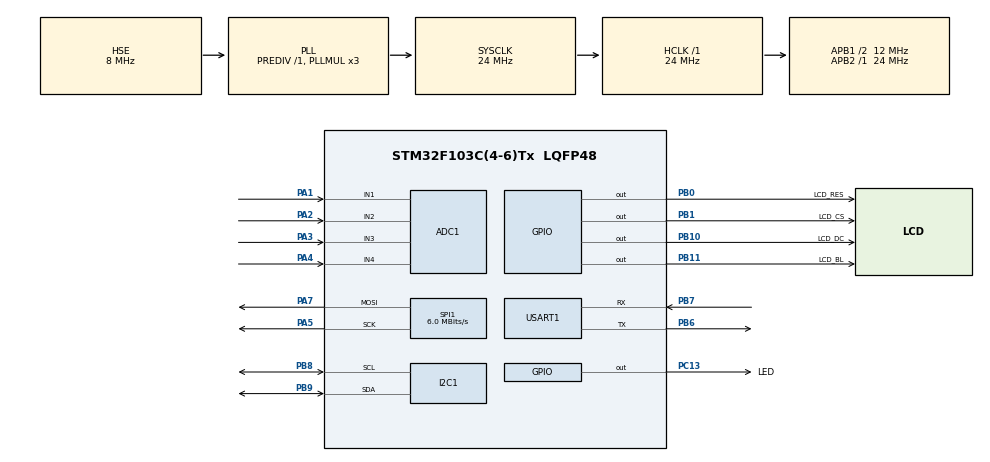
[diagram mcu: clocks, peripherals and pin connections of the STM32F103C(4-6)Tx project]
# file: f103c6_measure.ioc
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ADC1.Channel-0\#ChannelRegularConversion=ADC_CHANNEL_1
ADC1.Channel-1\#ChannelRegularConversion=ADC_CHANNEL_2
ADC1.Channel-2\#ChannelRegularConversion=ADC_CHANNEL_3
ADC1.Channel-3\#ChannelRegularConversion=ADC_CHANNEL_4
ADC1.Channel-4\#ChannelRegularConversion=ADC_CHANNEL_TEMPSENSOR
ADC1.Channel-5\#ChannelRegularConversion=ADC_CHANNEL_VREFINT
ADC1.ContinuousConvMode=ENABLE
ADC1.NbrOfConversion=6
ADC1.NbrOfConversionFlag=1
ADC1.Rank-0\#ChannelRegularConversion=1
ADC1.Rank-1\#ChannelRegularConversion=2
ADC1.Rank-2\#ChannelRegularConversion=3
ADC1.Rank-3\#ChannelRegularConversion=4
ADC1.Rank-4\#ChannelRegularConversion=5
ADC1.Rank-5\#ChannelRegularConversion=6
ADC1.SamplingTime-0\#ChannelRegularConversion=ADC_SAMPLETIME_239CYCLES_5
ADC1.SamplingTime-1\#ChannelRegularConversion=ADC_SAMPLETIME_239CYCLES_5
ADC1.SamplingTime-2\#ChannelRegularConversion=ADC_SAMPLETIME_239CYCLES_5
ADC1.SamplingTime-3\#ChannelRegularConversion=ADC_SAMPLETIME_239CYCLES_5
ADC1.SamplingTime-4\#ChannelRegularConversion=ADC_SAMPLETIME_239CYCLES_5
ADC1.SamplingTime-5\#ChannelRegularConversion=ADC_SAMPLETIME_239CYCLES_5
ADC1.master=1
Dma.ADC1.0.Direction=DMA_PERIPH_TO_MEMORY
Dma.ADC1.0.Instance=DMA1_Channel1
Dma.ADC1.0.MemDataAlignment=DMA_MDATAALIGN_HALFWORD
Dma.ADC1.0.MemInc=DMA_MINC_ENABLE
Dma.ADC1.0.Mode=DMA_CIRCULAR
Dma.ADC1.0.PeriphDataAlignment=DMA_PDATAALIGN_HALFWORD
Dma.ADC1.0.PeriphInc=DMA_PINC_DISABLE
Dma.ADC1.0.Priority=DMA_PRIORITY_MEDIUM
Dma.Request0=ADC1
Dma.Request1=SPI1_TX
Dma.SPI1_TX.1.Direction=DMA_MEMORY_TO_PERIPH
Dma.SPI1_TX.1.Instance=DMA1_Channel3
Dma.SPI1_TX.1.MemDataAlignment=DMA_MDATAALIGN_BYTE
Dma.SPI1_TX.1.MemInc=DMA_MINC_ENABLE
Dma.SPI1_TX.1.Mode=DMA_NORMAL
Dma.SPI1_TX.1.PeriphDataAlignment=DMA_PDATAALIGN_BYTE
Dma.SPI1_TX.1.PeriphInc=DMA_PINC_DISABLE
Dma.SPI1_TX.1.Priority=DMA_PRIORITY_LOW
Mcu.Family=STM32F1
Mcu.Name=STM32F103C(4-6)Tx
Mcu.Package=LQFP48
NVIC.DMA1_Channel1_IRQn=true\:0\:0\:false\:false\:true\:false\:true\:true
NVIC.DMA1_Channel3_IRQn=true\:0\:0\:false\:false\:true\:false\:true\:true
NVIC.PriorityGroup=NVIC_PRIORITYGROUP_4
PA1.Signal=ADCx_IN1
PA13.Mode=Serial_Wire
PA13.Signal=SYS_JTMS-SWDIO
PA14.Mode=Serial_Wire
PA14.Signal=SYS_JTCK-SWCLK
PA2.Signal=ADCx_IN2
PA3.Signal=ADCx_IN3
PA4.Signal=ADCx_IN4
PA5.Mode=TX_Only_Simplex_Unidirect_Master
PA5.Signal=SPI1_SCK
PA7.Mode=TX_Only_Simplex_Unidirect_Master
PA7.Signal=SPI1_MOSI
PB0.GPIO_Label=LCD_RES
PB0.Signal=GPIO_Output
PB1.GPIO_Label=LCD_CS
PB1.Signal=GPIO_Output
PB10.GPIO_Label=LCD_DC
PB10.GPIO_Speed=GPIO_SPEED_FREQ_HIGH
PB10.Signal=GPIO_Output
PB11.GPIO_Label=LCD_BL
PB11.Signal=GPIO_Output
PB6.Mode=Asynchronous
PB6.Signal=USART1_TX
PB7.Mode=Asynchronous
PB7.Signal=USART1_RX
PB8.Mode=I2C
PB8.Signal=I2C1_SCL
PB9.Mode=I2C
PB9.Signal=I2C1_SDA
PC13-TAMPER-RTC.GPIO_Label=LED
PC13-TAMPER-RTC.GPIO_ModeDefaultOutputPP=GPIO_MODE_OUTPUT_OD
PC13-TAMPER-RTC.GPIO_PuPd=GPIO_NOPULL
PC13-TAMPER-RTC.Signal=GPIO_Output
PD0-OSC_IN.Mode=HSE-External-Oscillator
PD0-OSC_IN.Signal=RCC_OSC_IN
PD1-OSC_OUT.Mode=HSE-External-Oscillator
PD1-OSC_OUT.Signal=RCC_OSC_OUT
ProjectManager.HeapSize=0x200
ProjectManager.StackSize=0x400
ProjectManager.TargetToolchain=STM32CubeIDE
RCC.AHBFreq_Value=24000000
RCC.APB1CLKDivider=RCC_HCLK_DIV2
RCC.APB1Freq_Value=12000000
RCC.APB1TimFreq_Value=24000000
RCC.APB2Freq_Value=24000000
RCC.APB2TimFreq_Value=24000000
RCC.HCLKFreq_Value=24000000
RCC.PLLMUL=RCC_PLL_MUL3
RCC.PLLSourceVirtual=RCC_PLLSOURCE_HSE
RCC.SYSCLKFreq_VALUE=24000000
RCC.SYSCLKSource=RCC_SYSCLKSOURCE_PLLCLK
RCC.USBFreq_Value=16000000
RCC.USBPrescaler=RCC_USBCLKSOURCE_PLL_DIV1_5
SH.ADCx_IN1.0=ADC1_IN1,IN1
SH.ADCx_IN2.0=ADC1_IN2,IN2
SH.ADCx_IN3.0=ADC1_IN3,IN3
SH.ADCx_IN4.0=ADC1_IN4,IN4
SPI1.BaudRatePrescaler=SPI_BAUDRATEPRESCALER_4
SPI1.CLKPhase=SPI_PHASE_2EDGE
SPI1.CLKPolarity=SPI_POLARITY_HIGH
SPI1.CalculateBaudRate=6.0 MBits/s
SPI1.Direction=SPI_DIRECTION_2LINES
SPI1.Mode=SPI_MODE_MASTER
SPI1.VirtualType=VM_MASTER
USART1.VirtualMode=VM_ASYNC
VP_ADC1_TempSens_Input.Mode=IN-TempSens
VP_ADC1_Vref_Input.Mode=IN-Vrefint
board=custom

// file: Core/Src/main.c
/* USER CODE BEGIN Header */
/**
  ******************************************************************************
  * @file           : main.c
  * @brief          : Main program body
  ******************************************************************************
  * @attention
  *
  * Copyright (c) 2024 STMicroelectronics.
  * All rights reserved.
  *
  * This software is licensed under terms that can be found in the LICENSE file
  * in the root directory of this software component.
  * If no LICENSE file comes with this software, it is provided AS-IS.
  *
  ******************************************************************************
  */
/* USER CODE END Header */
#include "main.h"

/* USER CODE BEGIN Includes */
#include <stdio.h>
#include <stdlib.h>
#include <math.h>
#include "st7789.h"

/* USER CODE END Includes */

ADC_HandleTypeDef hadc1;
DMA_HandleTypeDef hdma_adc1;

I2C_HandleTypeDef hi2c1;

SPI_HandleTypeDef hspi1;
DMA_HandleTypeDef hdma_spi1_tx;

UART_HandleTypeDef huart1;

void SystemClock_Config(void);
static void MX_GPIO_Init(void);
static void MX_DMA_Init(void);
static void MX_ADC1_Init(void);
static void MX_SPI1_Init(void);
static void MX_USART1_UART_Init(void);
static void MX_I2C1_Init(void);

/* USER CODE BEGIN 0 */
void retarget_put_char(char p)
{
	HAL_UART_Transmit(&huart1, &p, 1, 0xffffff); // send message via UART
}
void crput(char r)
{
	retarget_put_char(r);
}
int _write(int fd, char* ptr, int len)
{
    (void)fd;
    int i = 0;
    while (ptr[i] && (i < len))
    {
    	if (ptr[i] == '\r')
    	{

    	}
    	else
    	{
    		crput(ptr[i]);
			//retarget_put_char((int)ptr[i]);
			if (ptr[i] == '\n')
			{
				crput('\r');
				//retarget_put_char((int)'\r');
			}
    	}
        i++;
    }
    return len;
}
#define HSAMPLES 64
#define NCHAN 6
struct sADC_BUFF
{
	uint16_t V_1; // 1.0/2.0
	uint16_t V_2; // 1.0/2.0
	uint16_t V_3; // 1.0/2.0
	uint16_t V_4; // 1.0/2.0
	uint16_t V_TEMP;
	uint16_t V_REF;
};

uint16_t ADC_BUFF[HSAMPLES*NCHAN];

struct sADC_BUFFAcc
{
	int32_t V_1; // 1.0/2.0
	int32_t V_2; // 1.0/2.0
	int32_t V_3; // 1.0/2.0
	int32_t V_4; // 1.0/2.0
	int32_t V_TEMP;
	int32_t V_REF;
	int32_t counter;
}Acc;

#define VDD_APPLI                      ((uint32_t) 3300)   /* Value of analog voltage supply Vdda (unit: mV) */
#define RANGE_12BITS                   ((uint32_t) 4095)   /* Max value with a full range of 12 bits */

/* Internal temperature sensor: constants data used for indicative values in  */
/* this example. Refer to device datasheet for min/typ/max values.            */
/* For more accurate values, device should be calibrated on offset and slope  */
/* for application temperature range.                                         */
//#define INTERNAL_TEMPSENSOR_V25        ((int32_t)1430)         /* Internal temperature sensor, parameter V25 (unit: mV). Refer to device datasheet for min/typ/max values. */
//#define INTERNAL_TEMPSENSOR_AVGSLOPE   ((int32_t)4300)         /* Internal temperature sensor, parameter Avg_Slope (unit: uV/DegCelsius). Refer to device datasheet for min/typ/max values. */                                                               /* This calibration parameter is intended to calculate the actual VDDA from Vrefint ADC measurement. */

#define INTERNAL_TEMPSENSOR_V25        ((int32_t)1405)         /* Internal temperature sensor, parameter V25 (unit: mV). Refer to device datasheet for min/typ/max values. */
//	#define INTERNAL_TEMPSENSOR_V25        ((int32_t)1470)         /* Internal temperature sensor, parameter V25 (unit: mV). Refer to device datasheet for min/typ/max values. */
#define INTERNAL_TEMPSENSOR_AVGSLOPE   ((int32_t)4300)         /* Internal temperature sensor, parameter Avg_Slope (unit: uV/DegCelsius). Refer to device datasheet for min/typ/max values. */                                                               /* This calibration parameter is intended to calculate the actual VDDA from Vrefint ADC measurement. */

volatile int cb_count;
#define QUE_BITS 7
#define QUE_SIZE (1<<QUE_BITS)

struct results
{
	float voltage;
	float mA1;
	float mA2;
	float temperature;
} Queue[QUE_SIZE];

uint8_t iQueueHead=0;
uint8_t iQueueTail=0;

int qSize()
{
	return (iQueueHead-iQueueTail)&(QUE_SIZE-1);
}
void calcSumm(struct sADC_BUFFAcc* accs,struct sADC_BUFF* ADC_BUFFp)
{
	accs->V_REF = 0;
	accs->V_1 = 0;
	accs->V_2 = 0;
	accs->V_3 = 0;
	accs->V_4 = 0;
	accs->V_TEMP = 0;
	for(int k=0;k<HSAMPLES/2;k++)
	{
		accs->V_REF +=  ADC_BUFFp[k].V_REF;
		accs->V_1+=ADC_BUFFp[k].V_1;
		accs->V_2+=ADC_BUFFp[k].V_2;
		accs->V_3+=ADC_BUFFp[k].V_3;
		accs->V_4+=ADC_BUFFp[k].V_4;
		accs->V_TEMP+=ADC_BUFFp[k].V_TEMP;
	}
	accs->V_REF/=HSAMPLES/2;
	accs->V_1/=HSAMPLES/2;
	accs->V_2/=HSAMPLES/2;
	accs->V_3/=HSAMPLES/2;
	accs->V_4/=HSAMPLES/2;
	accs->V_TEMP/=HSAMPLES/2;

#define R4  472000.0f
#define R5  470000.0f

#define R6  477000.0f
#define R7  470000.0f

#define R8  475000.0f
#define R9  470000.0f

#define R1  9.7f
#define R2  470.0f

#define MA1_ZERO_CORR 	-0.15f
#define MA2_ZERO_CORR 	+0.0028f

#define VV12	1.2f
	//
	float v1			= ((R4+ R5)/R5)*accs->V_1*VV12/accs->V_REF;
	float v2			= ((R6+ R7)/R7)*accs->V_2*VV12/accs->V_REF;
	float v3			= ((R8+ R9)/R9)*accs->V_3*VV12/accs->V_REF;
	float temperature	= (INTERNAL_TEMPSENSOR_V25-accs->V_TEMP*VV12*1000.0f/accs->V_REF)*1000/INTERNAL_TEMPSENSOR_AVGSLOPE+25.0f;
	Queue[iQueueHead].voltage = v3;
	Queue[iQueueHead].mA1 = 1000*(v1-v2)/R1-MA1_ZERO_CORR;
	Queue[iQueueHead].mA2 = 1000*(v2-v3)/R2+MA2_ZERO_CORR;
	Queue[iQueueHead].temperature = temperature;
	iQueueHead = (iQueueHead +1)&(QUE_SIZE-1);
	//v1,1000*(v1-v2)/R1-0.9-3.6,1000*(v2-v3)/R2+0.027;

    //printf("%f %fmA %fmA temp=%d.%d %d.%d %d.%03d %x %x %x %x\n",v1,1000*(v1-v2)/10.0f-0.9-3.6,1000*(v2-v3)/470.0f+0.027,temp/10,temp%10,itemp/10,itemp%10,ivoltage/1000,ivoltage%1000,V_REF,ADC_BUFFp[0].V_REF,ADC_BUFFp[0].V_1,ADC_BUFFp[0].V_2);
}

void HAL_ADC_ConvCpltCallback(ADC_HandleTypeDef *AdcHandle)
{
  /* Report to main program that ADC sequencer has reached its end */
	struct sADC_BUFFAcc* accs = &Acc;
	struct sADC_BUFF* ADC_BUFFp = &ADC_BUFF[HSAMPLES*NCHAN/2];

	calcSumm(accs,ADC_BUFFp);
	HAL_GPIO_WritePin(LED_GPIO_Port, LED_Pin, GPIO_PIN_RESET);
	cb_count++;
  //ubSequenceCompleted = SET;
}

/**
  * @brief  Conversion DMA half-transfer callback in non blocking mode
  * @param  hadc: ADC handle
  * @retval None
  */
void HAL_ADC_ConvHalfCpltCallback(ADC_HandleTypeDef* hadc)
{
	struct sADC_BUFFAcc* accs = &Acc;
	struct sADC_BUFF* ADC_BUFFp = &ADC_BUFF[0];
	calcSumm(accs,ADC_BUFFp);
}

/**
  * @brief  ADC error callback in non blocking mode
  *        (ADC conversion with interruption or transfer by DMA)
  * @param  hadc: ADC handle
  * @retval None
  */
void HAL_ADC_ErrorCallback(ADC_HandleTypeDef *hadc)
{
  /* In case of ADC error, call main error handler */
  Error_Handler();
}

/* USER CODE END 0 */

int main(void)
{

  /* MCU Configuration--------------------------------------------------------*/

  /* Reset of all peripherals, Initializes the Flash interface and the Systick. */
  HAL_Init();

  /* Configure the system clock */
  SystemClock_Config();

  /* Initialize all configured peripherals */
  MX_GPIO_Init();
  MX_DMA_Init();
  MX_ADC1_Init();
  MX_SPI1_Init();
  MX_USART1_UART_Init();
  MX_I2C1_Init();
  /* USER CODE BEGIN 2 */
 // printf("Program_ start!\n");
  int i,ret;
 // Queue = malloc(QUE_SIZE*sizeof(struct results));
	ST7789_Init();
//printf("init ok!\n");
	ST7789_Fill_Color(GREEN);
	HAL_Delay(250);
	ST7789_Fill_Color(BLACK);
	//ST7789_Fill_Color(RED);
	int ADCOK = 0;
	if (HAL_ADCEx_Calibration_Start(&hadc1) != HAL_OK)
	{
		/* Calibration Error */
		printf("HAL_ADCEx_Calibration error\r\n");
		ADCOK = 0;
	}
	else
	{
		printf("HAL_ADCEx_Calibration OK\r\n");
		ADCOK = 1;
	}
#if 0
	  for(i=1; i<128; i++)
	      {
	          ret = HAL_I2C_IsDeviceReady(&hi2c1, (uint16_t)(i<<1), 3, 5);
	          if (ret != HAL_OK) /* No ACK Received At That Address */
	          {
	              printf(" - ");
	          }
	          else if(ret == HAL_OK)
	          {
	              printf("0x%X", i*2);
	          }
	      }
	  	  printf("\nDone! \n\n");
#endif
#if 0
	  	if(!LM75_Init(100000))
	  			{
	  			// printf("LM35 init error\n");
	  			}
	  	else
	  		{
	  		/*
	  		uint16_t value;

	  	    value = LM75_ReadReg(0x00);
	  	    printf("V=%x\n",value);
	  		value = LM75_ReadConf();
	  		printf("V=%x\n",value);
	  		value = LM75_ReadReg(0x02);
	  		printf("V=%x\n",value);
	  		value = LM75_ReadReg(0x03);
	  		printf("V=%x\n",value);
*/
	  	    LM75_Shutdown(DISABLE);

	  		}
#endif
  //printf("Program_start on %d %d!\n" ,HAL_RCC_GetSysClockFreq(),HAL_RCC_GetHCLKFreq());

		 	//ST7789_Test();
		HAL_GPIO_WritePin(LED_GPIO_Port, LED_Pin, GPIO_PIN_SET);
		HAL_ADC_Start_DMA(&hadc1, (uint32_t*)ADC_BUFF, HSAMPLES*NCHAN);
		uint32_t lastTime = HAL_GetTick();
		uint32_t firstTime = HAL_GetTick();
		float mASeclob = 0;
		float mJ = 0;
		int flagClearDisp1 = 0;

  /* USER CODE END 2 */

  /* Infinite loop */
  while (1)
  {

    /* USER CODE BEGIN 3 */

	  //read all
	  int iSize = qSize();
	  float voltage = 0;
	  float mA1 = 0;
	  float mA2 = 0;
	  float mASec = 0;
	  float temperature = 0;
	  float watt = 0;
	  for(int k=0;k<iSize;k++)
	  {
		  voltage+=Queue[iQueueTail].voltage;
		  mA1+=Queue[iQueueTail].mA1;
		  mA2+=Queue[iQueueTail].mA2;
		  //TBD make LS approximation with weights between 300-1000uA instead of this dummy threshold !!!

		  float mA = Queue[iQueueTail].mA2>0.3f?Queue[iQueueTail].mA1:Queue[iQueueTail].mA2;
//#if DEBUG
		  //float mA = Queue[iQueueTail].mA2;
		  //float mA = Queue[iQueueTail].mA2*1000;
//#endif
		  watt +=Queue[iQueueTail].voltage*mA;
 		  mASec +=mA;
		  temperature+=Queue[iQueueTail].temperature;
		  iQueueTail = (iQueueTail+1)&(QUE_SIZE-1);
	  }
	  float scale = 1.0f;
	  if(iSize)
	  {
		  scale=1.0f/iSize;
	  }
	  voltage*= scale;
	  mA1*= scale;
	  mA2*= scale;
	  temperature*= scale;
	  mASec*= scale;
	  watt *= scale;
	 // float 	temp = LM75_Temperature()*0.1f;
	  printf("%1.3fV %3.3fmA %0.4fmA %2.1f %d\n",voltage,mA1,mA2,temperature,iSize);
	  //ST7789_Fill_Color(BLACK);
	  float ma = mASec;
	  //float ma = mA1;
	  char srt[0x10];
	  int32_t nlastTime = HAL_GetTick();
	  int32_t delta_mS = nlastTime-lastTime;
	  lastTime = nlastTime;

	  mASec*=delta_mS/1000.0f;

	  mJ += watt*delta_mS/1000.0f;

	  mASeclob+=mASec;
#define FON_CURR  Font_7x10
#define WRITE_STRING	 ST7789_WriteString3
	  float integratedTime = (nlastTime-firstTime)/1000.0f;

	  sprintf(srt,"%3.3fmA  ",ma);
	  WRITE_STRING(10, 10, srt, FON_CURR, YELLOW, BLACK);

	  sprintf(srt,"%3.3fmA  ",mASeclob/integratedTime);
	  WRITE_STRING(10, 10+12*3, srt, FON_CURR, BLUE, BLACK);

	  sprintf(srt,"%1.3fV  ",voltage);
	  WRITE_STRING(10, 10+12*6, srt, FON_CURR, GREEN, BLACK);

	  sprintf(srt,"IT: %ds    ",(int)integratedTime);
	  WRITE_STRING(10, 10+12*9, srt, FON_CURR, RED, BLACK);

	  if(mASeclob<1800.0f)
	  {
		  sprintf(srt,"%4.2fmAs  ",mASeclob);
		  WRITE_STRING(10, 10+12*12, srt, FON_CURR, CYAN, BLACK);
		  flagClearDisp1 = 1;
	  }
	  else
	  {
		  if(flagClearDisp1)
		  {
			  ST7789_Fill_Color(BLACK);
			  flagClearDisp1 = 0;
		  }
		  sprintf(srt,"%2.2fmAh  ",mASeclob/3600.0f);
		  WRITE_STRING(10, 10+12*12, srt, FON_CURR, CYAN, BLACK);
	  }
	  if(mJ<1000.0f)
	  {
		  sprintf(srt,"%2.2fmJ  ",mJ);
		  WRITE_STRING(10, 10+12*15, srt, FON_CURR, RED, BLACK);
	  }
	  else
	  {
		  sprintf(srt,"%2.2fJ    ",mJ/1000.0f);
		  WRITE_STRING(10, 10+12*15, srt, FON_CURR, RED, BLACK);

	  }

	  HAL_Delay(200);

  }
  /* USER CODE END 3 */
}

void SystemClock_Config(void)
{
  RCC_OscInitTypeDef RCC_OscInitStruct = {0};
  RCC_ClkInitTypeDef RCC_ClkInitStruct = {0};
  RCC_PeriphCLKInitTypeDef PeriphClkInit = {0};

  /** Initializes the RCC Oscillators according to the specified parameters
  * in the RCC_OscInitTypeDef structure.
  */
  RCC_OscInitStruct.OscillatorType = RCC_OSCILLATORTYPE_HSE;
  RCC_OscInitStruct.HSEState = RCC_HSE_ON;
  RCC_OscInitStruct.HSEPredivValue = RCC_HSE_PREDIV_DIV1;
  RCC_OscInitStruct.HSIState = RCC_HSI_ON;
  RCC_OscInitStruct.PLL.PLLState = RCC_PLL_ON;
  RCC_OscInitStruct.PLL.PLLSource = RCC_PLLSOURCE_HSE;
  RCC_OscInitStruct.PLL.PLLMUL = RCC_PLL_MUL3;
  if (HAL_RCC_OscConfig(&RCC_OscInitStruct) != HAL_OK)
  {
    Error_Handler();
  }

  /** Initializes the CPU, AHB and APB buses clocks
  */
  RCC_ClkInitStruct.ClockType = RCC_CLOCKTYPE_HCLK|RCC_CLOCKTYPE_SYSCLK
                              |RCC_CLOCKTYPE_PCLK1|RCC_CLOCKTYPE_PCLK2;
  RCC_ClkInitStruct.SYSCLKSource = RCC_SYSCLKSOURCE_PLLCLK;
  RCC_ClkInitStruct.AHBCLKDivider = RCC_SYSCLK_DIV1;
  RCC_ClkInitStruct.APB1CLKDivider = RCC_HCLK_DIV2;
  RCC_ClkInitStruct.APB2CLKDivider = RCC_HCLK_DIV1;

  if (HAL_RCC_ClockConfig(&RCC_ClkInitStruct, FLASH_LATENCY_0) != HAL_OK)
  {
    Error_Handler();
  }
  PeriphClkInit.PeriphClockSelection = RCC_PERIPHCLK_ADC;
  PeriphClkInit.AdcClockSelection = RCC_ADCPCLK2_DIV2;
  if (HAL_RCCEx_PeriphCLKConfig(&PeriphClkInit) != HAL_OK)
  {
    Error_Handler();
  }
}

static void MX_ADC1_Init(void)
{

  ADC_ChannelConfTypeDef sConfig = {0};

  /** Common config
  */
  hadc1.Instance = ADC1;
  hadc1.Init.ScanConvMode = ADC_SCAN_ENABLE;
  hadc1.Init.ContinuousConvMode = ENABLE;
  hadc1.Init.DiscontinuousConvMode = DISABLE;
  hadc1.Init.ExternalTrigConv = ADC_SOFTWARE_START;
  hadc1.Init.DataAlign = ADC_DATAALIGN_RIGHT;
  hadc1.Init.NbrOfConversion = 6;
  if (HAL_ADC_Init(&hadc1) != HAL_OK)
  {
    Error_Handler();
  }

  /** Configure Regular Channel
  */
  sConfig.Channel = ADC_CHANNEL_1;
  sConfig.Rank = ADC_REGULAR_RANK_1;
  sConfig.SamplingTime = ADC_SAMPLETIME_239CYCLES_5;
  if (HAL_ADC_ConfigChannel(&hadc1, &sConfig) != HAL_OK)
  {
    Error_Handler();
  }

  /** Configure Regular Channel
  */
  sConfig.Channel = ADC_CHANNEL_2;
  sConfig.Rank = ADC_REGULAR_RANK_2;
  if (HAL_ADC_ConfigChannel(&hadc1, &sConfig) != HAL_OK)
  {
    Error_Handler();
  }

  /** Configure Regular Channel
  */
  sConfig.Channel = ADC_CHANNEL_3;
  sConfig.Rank = ADC_REGULAR_RANK_3;
  if (HAL_ADC_ConfigChannel(&hadc1, &sConfig) != HAL_OK)
  {
    Error_Handler();
  }

  /** Configure Regular Channel
  */
  sConfig.Channel = ADC_CHANNEL_4;
  sConfig.Rank = ADC_REGULAR_RANK_4;
  if (HAL_ADC_ConfigChannel(&hadc1, &sConfig) != HAL_OK)
  {
    Error_Handler();
  }

  /** Configure Regular Channel
  */
  sConfig.Channel = ADC_CHANNEL_TEMPSENSOR;
  sConfig.Rank = ADC_REGULAR_RANK_5;
  if (HAL_ADC_ConfigChannel(&hadc1, &sConfig) != HAL_OK)
  {
    Error_Handler();
  }

  /** Configure Regular Channel
  */
  sConfig.Channel = ADC_CHANNEL_VREFINT;
  sConfig.Rank = ADC_REGULAR_RANK_6;
  if (HAL_ADC_ConfigChannel(&hadc1, &sConfig) != HAL_OK)
  {
    Error_Handler();
  }

}

static void MX_I2C1_Init(void)
{

  hi2c1.Instance = I2C1;
  hi2c1.Init.ClockSpeed = 100000;
  hi2c1.Init.DutyCycle = I2C_DUTYCYCLE_2;
  hi2c1.Init.OwnAddress1 = 0;
  hi2c1.Init.AddressingMode = I2C_ADDRESSINGMODE_7BIT;
  hi2c1.Init.DualAddressMode = I2C_DUALADDRESS_DISABLE;
  hi2c1.Init.OwnAddress2 = 0;
  hi2c1.Init.GeneralCallMode = I2C_GENERALCALL_DISABLE;
  hi2c1.Init.NoStretchMode = I2C_NOSTRETCH_DISABLE;
  if (HAL_I2C_Init(&hi2c1) != HAL_OK)
  {
    Error_Handler();
  }

}

static void MX_SPI1_Init(void)
{

  /* SPI1 parameter configuration*/
  hspi1.Instance = SPI1;
  hspi1.Init.Mode = SPI_MODE_MASTER;
  hspi1.Init.Direction = SPI_DIRECTION_2LINES;
  hspi1.Init.DataSize = SPI_DATASIZE_8BIT;
  hspi1.Init.CLKPolarity = SPI_POLARITY_HIGH;
  hspi1.Init.CLKPhase = SPI_PHASE_2EDGE;
  hspi1.Init.NSS = SPI_NSS_SOFT;
  hspi1.Init.BaudRatePrescaler = SPI_BAUDRATEPRESCALER_4;
  hspi1.Init.FirstBit = SPI_FIRSTBIT_MSB;
  hspi1.Init.TIMode = SPI_TIMODE_DISABLE;
  hspi1.Init.CRCCalculation = SPI_CRCCALCULATION_DISABLE;
  hspi1.Init.CRCPolynomial = 10;
  if (HAL_SPI_Init(&hspi1) != HAL_OK)
  {
    Error_Handler();
  }

}

static void MX_USART1_UART_Init(void)
{

  huart1.Instance = USART1;
  huart1.Init.BaudRate = 115200;
  huart1.Init.WordLength = UART_WORDLENGTH_8B;
  huart1.Init.StopBits = UART_STOPBITS_1;
  huart1.Init.Parity = UART_PARITY_NONE;
  huart1.Init.Mode = UART_MODE_TX_RX;
  huart1.Init.HwFlowCtl = UART_HWCONTROL_NONE;
  huart1.Init.OverSampling = UART_OVERSAMPLING_16;
  if (HAL_UART_Init(&huart1) != HAL_OK)
  {
    Error_Handler();
  }

}

static void MX_DMA_Init(void)
{

  /* DMA controller clock enable */
  __HAL_RCC_DMA1_CLK_ENABLE();

  /* DMA interrupt init */
  /* DMA1_Channel1_IRQn interrupt configuration */
  HAL_NVIC_SetPriority(DMA1_Channel1_IRQn, 0, 0);
  HAL_NVIC_EnableIRQ(DMA1_Channel1_IRQn);
  /* DMA1_Channel3_IRQn interrupt configuration */
  HAL_NVIC_SetPriority(DMA1_Channel3_IRQn, 0, 0);
  HAL_NVIC_EnableIRQ(DMA1_Channel3_IRQn);

}

static void MX_GPIO_Init(void)
{
  GPIO_InitTypeDef GPIO_InitStruct = {0};

  /* GPIO Ports Clock Enable */
  __HAL_RCC_GPIOC_CLK_ENABLE();
  __HAL_RCC_GPIOD_CLK_ENABLE();
  __HAL_RCC_GPIOA_CLK_ENABLE();
  __HAL_RCC_GPIOB_CLK_ENABLE();

  /*Configure GPIO pin Output Level */
  HAL_GPIO_WritePin(LED_GPIO_Port, LED_Pin, GPIO_PIN_RESET);

  /*Configure GPIO pin Output Level */
  HAL_GPIO_WritePin(GPIOB, LCD_RES_Pin|LCD_CS_Pin|LCD_DC_Pin|LCD_BL_Pin, GPIO_PIN_RESET);

  /*Configure GPIO pin : LED_Pin */
  GPIO_InitStruct.Pin = LED_Pin;
  GPIO_InitStruct.Mode = GPIO_MODE_OUTPUT_OD;
  GPIO_InitStruct.Pull = GPIO_NOPULL;
  GPIO_InitStruct.Speed = GPIO_SPEED_FREQ_LOW;
  HAL_GPIO_Init(LED_GPIO_Port, &GPIO_InitStruct);

  /*Configure GPIO pins : LCD_RES_Pin LCD_CS_Pin LCD_BL_Pin */
  GPIO_InitStruct.Pin = LCD_RES_Pin|LCD_CS_Pin|LCD_BL_Pin;
  GPIO_InitStruct.Mode = GPIO_MODE_OUTPUT_PP;
  GPIO_InitStruct.Pull = GPIO_NOPULL;
  GPIO_InitStruct.Speed = GPIO_SPEED_FREQ_LOW;
  HAL_GPIO_Init(GPIOB, &GPIO_InitStruct);

  /*Configure GPIO pin : LCD_DC_Pin */
  GPIO_InitStruct.Pin = LCD_DC_Pin;
  GPIO_InitStruct.Mode = GPIO_MODE_OUTPUT_PP;
  GPIO_InitStruct.Pull = GPIO_NOPULL;
  GPIO_InitStruct.Speed = GPIO_SPEED_FREQ_HIGH;
  HAL_GPIO_Init(LCD_DC_GPIO_Port, &GPIO_InitStruct);

}

void Error_Handler(void)
{
  __disable_irq();
  while (1)
  {
  }
}
